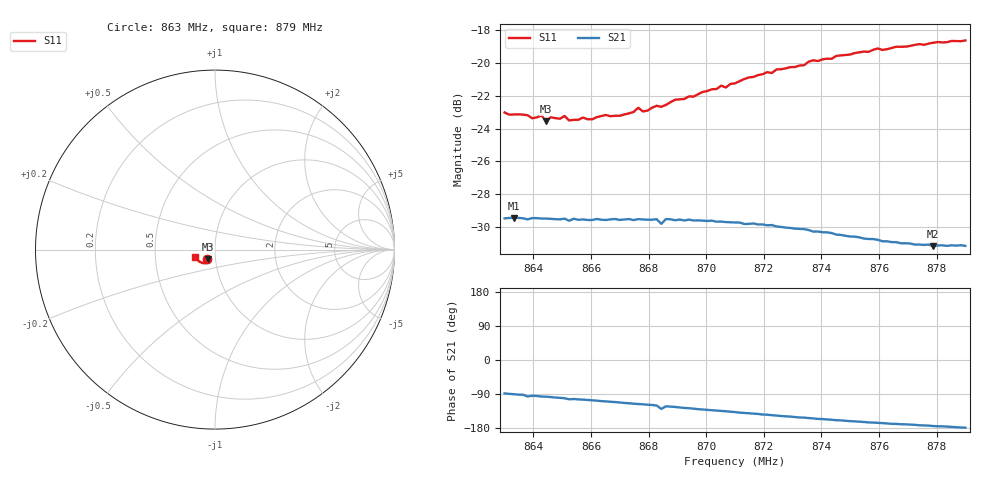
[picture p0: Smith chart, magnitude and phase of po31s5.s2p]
# HZ S RI R 50
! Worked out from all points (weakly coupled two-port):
!   101 points, 863 MHz to 879 MHz, reference 50 ohm
!   highest |S21| = -29.45 dB at 863.32 MHz (marker M1); lowest = -31.2 dB at 877.88 MHz (marker M2)
!   lowest |S11| = -23.5 dB at 864.44 MHz (marker M3), VSWR 1.14, Z = 46 - j5.01 ohm
!   |S11| at or under -10 dB: start of sweep to end of sweep
!   S12 and S22 are empty: the file has one direction only
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8.63e8  -0.0442 -0.0552  0.00103 -0.0336  0 0  0 0
8.6332e8  -0.0433 -0.0546  -0.00013 -0.0337  0 0  0 0
8.6396e8  -0.0404 -0.0545  -0.00253 -0.0335  0 0  0 0
8.6428e8  -0.0397 -0.0567  -0.00375 -0.0333  0 0  0 0
8.6444e8  -0.0385 -0.0541  -0.00398 -0.0333  0 0  0 0
8.646e8  -0.0391 -0.056  -0.00449 -0.0332  0 0  0 0
8.6492e8  -0.0379 -0.056  -0.00569 -0.0329  0 0  0 0
8.6508e8  -0.0405 -0.0559  -0.00629 -0.0329  0 0  0 0
8.6524e8  -0.0371 -0.0556  -0.00783 -0.0321  0 0  0 0
8.6572e8  -0.0364 -0.0577  -0.00838 -0.0323  0 0  0 0
8.67e8  -0.0362 -0.0588  -0.0125 -0.0307  0 0  0 0
8.6764e8  -0.0375 -0.0627  -0.0147 -0.03  0 0  0 0
8.678e8  -0.0349 -0.0621  -0.0151 -0.0297  0 0  0 0
8.6828e8  -0.0367 -0.0644  -0.0168 -0.0289  0 0  0 0
8.6844e8  -0.0361 -0.0641  -0.0204 -0.025  0 0  0 0
8.686e8  -0.0364 -0.0651  -0.0178 -0.0283  0 0  0 0
8.6892e8  -0.0382 -0.0672  -0.0185 -0.0275  0 0  0 0
8.71e8  -0.0457 -0.0738  -0.024 -0.022  0 0  0 0
8.7372e8  -0.0685 -0.0756  -0.0275 -0.0133  0 0  0 0
8.7644e8  -0.0925 -0.0618  -0.0278 -0.00566  0 0  0 0
8.7788e8  -0.1039 -0.0502  -0.0275 -0.00276  0 0  0 0
8.79e8  -0.1104 -0.0395  -0.0276 -0.000695  0 0  0 0
